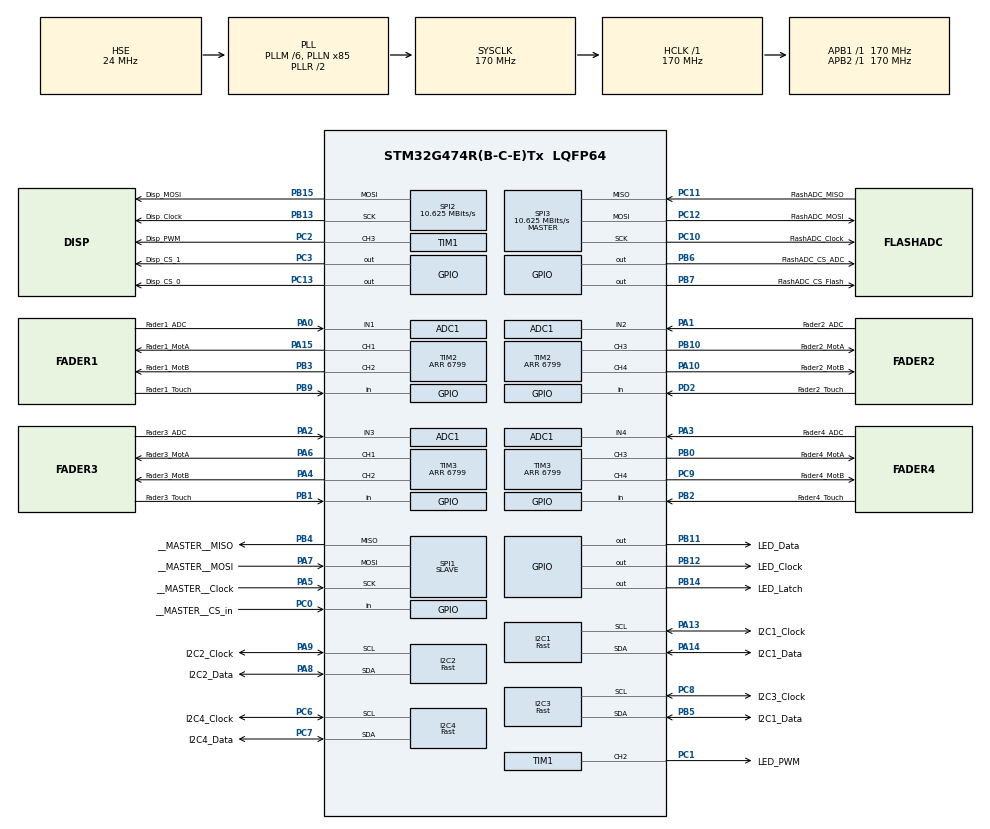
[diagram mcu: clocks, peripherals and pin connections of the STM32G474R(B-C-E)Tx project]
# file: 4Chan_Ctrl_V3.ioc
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ADC1.Channel-0\#ChannelRegularConversion=ADC_CHANNEL_1
ADC1.ClockPrescaler=ADC_CLOCK_ASYNC_DIV4
ADC1.NbrOfConversionFlag=1
ADC1.OffsetNumber-0\#ChannelRegularConversion=ADC_OFFSET_NONE
ADC1.Rank-0\#ChannelRegularConversion=1
ADC1.SamplingTime-0\#ChannelRegularConversion=ADC_SAMPLETIME_2CYCLES_5
ADC1.master=1
FREERTOS.Tasks01=defaultTask,24,128,StartDefaultTask,Default,NULL,Dynamic,NULL,NULL
I2C1.I2C_Speed_Mode=I2C_Fast
I2C1.Timing=0x00300617
I2C2.I2C_Speed_Mode=I2C_Fast
I2C2.Timing=0x00300617
I2C3.I2C_Speed_Mode=I2C_Fast
I2C3.Timing=0x00300617
I2C4.I2C_Speed_Mode=I2C_Fast
I2C4.Timing=0x00300617
Mcu.Family=STM32G4
Mcu.Name=STM32G474R(B-C-E)Tx
Mcu.Package=LQFP64
NVIC.PriorityGroup=NVIC_PRIORITYGROUP_4
NVIC.TIM7_DAC_IRQn=true\:15\:0\:false\:false\:true\:false\:false\:true\:true
NVIC.TimeBase=TIM7_DAC_IRQn
NVIC.TimeBaseIP=TIM7
PA0.GPIO_Label=Fader1_ADC
PA0.Mode=IN1-Single-Ended
PA0.Signal=ADC1_IN1
PA1.GPIO_Label=Fader2_ADC
PA1.Mode=IN2-Single-Ended
PA1.Signal=ADC1_IN2
PA10.GPIO_Label=Fader2_MotB
PA10.Signal=S_TIM2_CH4
PA13.GPIO_Label=I2C1_Clock
PA13.Mode=I2C
PA13.Signal=I2C1_SCL
PA14.GPIO_Label=I2C1_Data
PA14.Mode=I2C
PA14.Signal=I2C1_SDA
PA15.GPIO_Label=Fader1_MotA
PA15.Signal=S_TIM2_CH1
PA2.GPIO_Label=Fader3_ADC
PA2.Mode=IN3-Single-Ended
PA2.Signal=ADC1_IN3
PA3.GPIO_Label=Fader4_ADC
PA3.Mode=IN4-Single-Ended
PA3.Signal=ADC1_IN4
PA4.GPIO_Label=Fader3_MotB
PA4.Signal=S_TIM3_CH2
PA5.GPIO_Label=__MASTER__Clock
PA5.Mode=Full_Duplex_Slave
PA5.Signal=SPI1_SCK
PA6.GPIO_Label=Fader3_MotA
PA6.Signal=S_TIM3_CH1
PA7.GPIO_Label=__MASTER__MOSI
PA7.Mode=Full_Duplex_Slave
PA7.Signal=SPI1_MOSI
PA8.GPIO_Label=I2C2_Data
PA8.Mode=I2C
PA8.Signal=I2C2_SDA
PA9.GPIO_Label=I2C2_Clock
PA9.Mode=I2C
PA9.Signal=I2C2_SCL
PB0.GPIO_Label=Fader4_MotA
PB0.Signal=S_TIM3_CH3
PB1.GPIO_Label=Fader3_Touch
PB1.Signal=GPIO_Input
PB10.GPIO_Label=Fader2_MotA
PB10.Signal=S_TIM2_CH3
PB11.GPIO_Label=LED_Data
PB11.Signal=GPIO_Output
PB12.GPIO_Label=LED_Clock
PB12.Signal=GPIO_Output
PB13.GPIO_Label=Disp_Clock
PB13.Mode=TX_Only_Simplex_Unidirect_Master
PB13.Signal=SPI2_SCK
PB14.GPIO_Label=LED_Latch
PB14.Signal=GPIO_Output
PB15.GPIO_Label=Disp_MOSI
PB15.Mode=TX_Only_Simplex_Unidirect_Master
PB15.Signal=SPI2_MOSI
PB2.GPIO_Label=Fader4_Touch
PB2.Signal=GPIO_Input
PB3.GPIO_Label=Fader1_MotB
PB3.Signal=S_TIM2_CH2
PB4.GPIO_Label=__MASTER__MISO
PB4.Mode=Full_Duplex_Slave
PB4.Signal=SPI1_MISO
PB5.GPIO_Label=I2C1_Data
PB5.Mode=I2C
PB5.Signal=I2C3_SDA
PB6.GPIO_Label=FlashADC_CS_ADC
PB6.Signal=GPIO_Output
PB7.GPIO_Label=FlashADC_CS_Flash
PB7.Signal=GPIO_Output
PB9.GPIO_Label=Fader1_Touch
PB9.Signal=GPIO_Input
PC0.GPIO_Label=__MASTER__CS_in
PC0.Signal=GPIO_Input
PC1.GPIO_Label=LED_PWM
PC1.Signal=S_TIM1_CH2
PC10.GPIO_Label=FlashADC_Clock
PC10.Mode=Full_Duplex_Master
PC10.Signal=SPI3_SCK
PC11.GPIO_Label=FlashADC_MISO
PC11.Mode=Full_Duplex_Master
PC11.Signal=SPI3_MISO
PC12.GPIO_Label=FlashADC_MOSI
PC12.Mode=Full_Duplex_Master
PC12.Signal=SPI3_MOSI
PC13.GPIO_Label=Disp_CS_0
PC13.Signal=GPIO_Output
PC2.GPIO_Label=Disp_PWM
PC2.Signal=S_TIM1_CH3
PC3.GPIO_Label=Disp_CS_1
PC3.Signal=GPIO_Output
PC6.GPIO_Label=I2C4_Clock
PC6.Mode=I2C
PC6.Signal=I2C4_SCL
PC7.GPIO_Label=I2C4_Data
PC7.Mode=I2C
PC7.Signal=I2C4_SDA
PC8.GPIO_Label=I2C3_Clock
PC8.Mode=I2C
PC8.Signal=I2C3_SCL
PC9.GPIO_Label=Fader4_MotB
PC9.Signal=S_TIM3_CH4
PD2.GPIO_Label=Fader2_Touch
PD2.Signal=GPIO_Input
PF0-OSC_IN.GPIO_Label=_OSC_IN
PF0-OSC_IN.Mode=HSE-External-Oscillator
PF0-OSC_IN.Signal=RCC_OSC_IN
PF1-OSC_OUT.GPIO_Label=_OSC_OUT
PF1-OSC_OUT.Mode=HSE-External-Oscillator
PF1-OSC_OUT.Signal=RCC_OSC_OUT
ProjectManager.HeapSize=0x200
ProjectManager.StackSize=0x400
ProjectManager.TargetToolchain=CMake
RCC.ADC12Freq_Value=170000000
RCC.ADC345Freq_Value=170000000
RCC.AHBFreq_Value=170000000
RCC.APB1Freq_Value=170000000
RCC.APB1TimFreq_Value=170000000
RCC.APB2Freq_Value=170000000
RCC.APB2TimFreq_Value=170000000
RCC.CK48CLockSelection=RCC_USBCLKSOURCE_HSI48
RCC.CortexFreq_Value=170000000
RCC.EXTERNAL_CLOCK_VALUE=12288000
RCC.HCLKFreq_Value=170000000
RCC.HSE_VALUE=24000000
RCC.HSI48_VALUE=48000000
RCC.HSI_VALUE=16000000
RCC.I2C1CLockSelection=RCC_I2C1CLKSOURCE_HSI
RCC.I2C2CLockSelection=RCC_I2C2CLKSOURCE_HSI
RCC.I2C3CLockSelection=RCC_I2C3CLKSOURCE_HSI
RCC.I2C4CLockSelection=RCC_I2C4CLKSOURCE_HSI
RCC.LSE_VALUE=32768
RCC.PLLM=RCC_PLLM_DIV6
RCC.PLLN=85
RCC.PLLP=RCC_PLLP_DIV6
RCC.PLLQ=RCC_PLLQ_DIV4
RCC.PLLSourceVirtual=RCC_PLLSOURCE_HSE
RCC.SYSCLKFreq_VALUE=170000000
RCC.SYSCLKSource=RCC_SYSCLKSOURCE_PLLCLK
RCC.USBFreq_Value=48000000
RCC.VCOOutputFreq_Value=340000000
SH.S_TIM1_CH2.0=TIM1_CH2,PWM Generation2 CH2
SH.S_TIM1_CH3.0=TIM1_CH3,PWM Generation3 CH3
SH.S_TIM2_CH1.0=TIM2_CH1,PWM Generation1 CH1
SH.S_TIM2_CH2.0=TIM2_CH2,PWM Generation2 CH2
SH.S_TIM2_CH3.0=TIM2_CH3,PWM Generation3 CH3
SH.S_TIM2_CH4.0=TIM2_CH4,PWM Generation4 CH4
SH.S_TIM3_CH1.0=TIM3_CH1,PWM Generation1 CH1
SH.S_TIM3_CH2.0=TIM3_CH2,PWM Generation2 CH2
SH.S_TIM3_CH3.0=TIM3_CH3,PWM Generation3 CH3
SH.S_TIM3_CH4.0=TIM3_CH4,PWM Generation4 CH4
SPI1.Direction=SPI_DIRECTION_2LINES
SPI1.Mode=SPI_MODE_SLAVE
SPI1.VirtualType=VM_SLAVE
SPI2.BaudRatePrescaler=SPI_BAUDRATEPRESCALER_16
SPI2.CalculateBaudRate=10.625 MBits/s
SPI2.Direction=SPI_DIRECTION_2LINES
SPI2.Mode=SPI_MODE_MASTER
SPI2.VirtualType=VM_MASTER
SPI3.BaudRatePrescaler=SPI_BAUDRATEPRESCALER_16
SPI3.CalculateBaudRate=10.625 MBits/s
SPI3.Direction=SPI_DIRECTION_2LINES
SPI3.Mode=SPI_MODE_MASTER
SPI3.VirtualType=VM_MASTER
TIM1.Channel-PWM\ Generation2\ CH2=TIM_CHANNEL_2
TIM1.Channel-PWM\ Generation3\ CH3=TIM_CHANNEL_3
TIM1.PeriodNoDither=6799
TIM2.Channel-PWM\ Generation1\ CH1=TIM_CHANNEL_1
TIM2.Channel-PWM\ Generation2\ CH2=TIM_CHANNEL_2
TIM2.Channel-PWM\ Generation3\ CH3=TIM_CHANNEL_3
TIM2.Channel-PWM\ Generation4\ CH4=TIM_CHANNEL_4
TIM2.PeriodNoDither=6799
TIM3.Channel-PWM\ Generation1\ CH1=TIM_CHANNEL_1
TIM3.Channel-PWM\ Generation2\ CH2=TIM_CHANNEL_2
TIM3.Channel-PWM\ Generation3\ CH3=TIM_CHANNEL_3
TIM3.Channel-PWM\ Generation4\ CH4=TIM_CHANNEL_4
TIM3.PeriodNoDither=6799
VP_FREERTOS_VS_CMSIS_V2.Mode=CMSIS_V2
VP_SYS_VS_DBSignals.Mode=DisableDeadBatterySignals
VP_SYS_VS_tim7.Mode=TIM7
board=custom

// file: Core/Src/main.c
/* USER CODE BEGIN Header */
/**
  ******************************************************************************
  * @file           : main.c
  * @brief          : Main program body
  ******************************************************************************
  * @attention
  *
  * Copyright (c) 2026 STMicroelectronics.
  * All rights reserved.
  *
  * This software is licensed under terms that can be found in the LICENSE file
  * in the root directory of this software component.
  * If no LICENSE file comes with this software, it is provided AS-IS.
  *
  ******************************************************************************
  */
/* USER CODE END Header */
#include "main.h"
#include "cmsis_os.h"

/* USER CODE BEGIN Includes */

#include <stdio.h>

// Skylar
#include "cmsis_os2.h"
#include "led_driver.h"

/* USER CODE END Includes */

ADC_HandleTypeDef hadc1;

I2C_HandleTypeDef hi2c1;
I2C_HandleTypeDef hi2c2;
I2C_HandleTypeDef hi2c3;
I2C_HandleTypeDef hi2c4;

SPI_HandleTypeDef hspi1;
SPI_HandleTypeDef hspi2;
SPI_HandleTypeDef hspi3;

TIM_HandleTypeDef htim1;
TIM_HandleTypeDef htim2;
TIM_HandleTypeDef htim3;

/* Definitions for defaultTask */
osThreadId_t defaultTaskHandle;
const osThreadAttr_t defaultTask_attributes = {
  .name = "defaultTask",
  .priority = (osPriority_t) osPriorityNormal,
  .stack_size = 128 * 4
};

void SystemClock_Config(void);
static void MX_GPIO_Init(void);
static void MX_ADC1_Init(void);
static void MX_I2C1_Init(void);
static void MX_I2C2_Init(void);
static void MX_I2C3_Init(void);
static void MX_I2C4_Init(void);
static void MX_SPI1_Init(void);
static void MX_SPI2_Init(void);
static void MX_SPI3_Init(void);
static void MX_TIM2_Init(void);
static void MX_TIM3_Init(void);
static void MX_TIM1_Init(void);
void StartDefaultTask(void *argument);

int main(void)
{

  /* MCU Configuration--------------------------------------------------------*/

  /* Reset of all peripherals, Initializes the Flash interface and the Systick. */
  HAL_Init();

  /* Configure the system clock */
  SystemClock_Config();

  /* Initialize all configured peripherals */
  MX_GPIO_Init();
  MX_ADC1_Init();
  MX_I2C1_Init();
  MX_I2C2_Init();
  MX_I2C3_Init();
  MX_I2C4_Init();
  MX_SPI1_Init();
  MX_SPI2_Init();
  MX_SPI3_Init();
  MX_TIM2_Init();
  MX_TIM3_Init();
  MX_TIM1_Init();

  /* Init scheduler */
  osKernelInitialize();

  /* Create the thread(s) */
  /* creation of defaultTask */
  defaultTaskHandle = osThreadNew(StartDefaultTask, NULL, &defaultTask_attributes);

  /* Start scheduler */
  osKernelStart();

  /* We should never get here as control is now taken by the scheduler */

  /* Infinite loop */
  while (1)
  {

  }
}

void SystemClock_Config(void)
{
  RCC_OscInitTypeDef RCC_OscInitStruct = {0};
  RCC_ClkInitTypeDef RCC_ClkInitStruct = {0};

  /** Configure the main internal regulator output voltage
  */
  HAL_PWREx_ControlVoltageScaling(PWR_REGULATOR_VOLTAGE_SCALE1_BOOST);

  /** Initializes the RCC Oscillators according to the specified parameters
  * in the RCC_OscInitTypeDef structure.
  */
  RCC_OscInitStruct.OscillatorType = RCC_OSCILLATORTYPE_HSI|RCC_OSCILLATORTYPE_HSE;
  RCC_OscInitStruct.HSEState = RCC_HSE_ON;
  RCC_OscInitStruct.HSIState = RCC_HSI_ON;
  RCC_OscInitStruct.HSICalibrationValue = RCC_HSICALIBRATION_DEFAULT;
  RCC_OscInitStruct.PLL.PLLState = RCC_PLL_ON;
  RCC_OscInitStruct.PLL.PLLSource = RCC_PLLSOURCE_HSE;
  RCC_OscInitStruct.PLL.PLLM = RCC_PLLM_DIV6;
  RCC_OscInitStruct.PLL.PLLN = 85;
  RCC_OscInitStruct.PLL.PLLP = RCC_PLLP_DIV6;
  RCC_OscInitStruct.PLL.PLLQ = RCC_PLLQ_DIV4;
  RCC_OscInitStruct.PLL.PLLR = RCC_PLLR_DIV2;
  if (HAL_RCC_OscConfig(&RCC_OscInitStruct) != HAL_OK)
  {
    Error_Handler();
  }

  /** Initializes the CPU, AHB and APB buses clocks
  */
  RCC_ClkInitStruct.ClockType = RCC_CLOCKTYPE_HCLK|RCC_CLOCKTYPE_SYSCLK
                              |RCC_CLOCKTYPE_PCLK1|RCC_CLOCKTYPE_PCLK2;
  RCC_ClkInitStruct.SYSCLKSource = RCC_SYSCLKSOURCE_PLLCLK;
  RCC_ClkInitStruct.AHBCLKDivider = RCC_SYSCLK_DIV1;
  RCC_ClkInitStruct.APB1CLKDivider = RCC_HCLK_DIV1;
  RCC_ClkInitStruct.APB2CLKDivider = RCC_HCLK_DIV1;

  if (HAL_RCC_ClockConfig(&RCC_ClkInitStruct, FLASH_LATENCY_4) != HAL_OK)
  {
    Error_Handler();
  }
}

static void MX_ADC1_Init(void)
{

  ADC_MultiModeTypeDef multimode = {0};
  ADC_ChannelConfTypeDef sConfig = {0};

  /** Common config
  */
  hadc1.Instance = ADC1;
  hadc1.Init.ClockPrescaler = ADC_CLOCK_ASYNC_DIV4;
  hadc1.Init.Resolution = ADC_RESOLUTION_12B;
  hadc1.Init.DataAlign = ADC_DATAALIGN_RIGHT;
  hadc1.Init.GainCompensation = 0;
  hadc1.Init.ScanConvMode = ADC_SCAN_DISABLE;
  hadc1.Init.EOCSelection = ADC_EOC_SINGLE_CONV;
  hadc1.Init.LowPowerAutoWait = DISABLE;
  hadc1.Init.ContinuousConvMode = DISABLE;
  hadc1.Init.NbrOfConversion = 1;
  hadc1.Init.DiscontinuousConvMode = DISABLE;
  hadc1.Init.ExternalTrigConv = ADC_SOFTWARE_START;
  hadc1.Init.ExternalTrigConvEdge = ADC_EXTERNALTRIGCONVEDGE_NONE;
  hadc1.Init.DMAContinuousRequests = DISABLE;
  hadc1.Init.Overrun = ADC_OVR_DATA_PRESERVED;
  hadc1.Init.OversamplingMode = DISABLE;
  if (HAL_ADC_Init(&hadc1) != HAL_OK)
  {
    Error_Handler();
  }

  /** Configure the ADC multi-mode
  */
  multimode.Mode = ADC_MODE_INDEPENDENT;
  if (HAL_ADCEx_MultiModeConfigChannel(&hadc1, &multimode) != HAL_OK)
  {
    Error_Handler();
  }

  /** Configure Regular Channel
  */
  sConfig.Channel = ADC_CHANNEL_1;
  sConfig.Rank = ADC_REGULAR_RANK_1;
  sConfig.SamplingTime = ADC_SAMPLETIME_2CYCLES_5;
  sConfig.SingleDiff = ADC_SINGLE_ENDED;
  sConfig.OffsetNumber = ADC_OFFSET_NONE;
  sConfig.Offset = 0;
  if (HAL_ADC_ConfigChannel(&hadc1, &sConfig) != HAL_OK)
  {
    Error_Handler();
  }

}

static void MX_I2C1_Init(void)
{

  hi2c1.Instance = I2C1;
  hi2c1.Init.Timing = 0x00300617;
  hi2c1.Init.OwnAddress1 = 0;
  hi2c1.Init.AddressingMode = I2C_ADDRESSINGMODE_7BIT;
  hi2c1.Init.DualAddressMode = I2C_DUALADDRESS_DISABLE;
  hi2c1.Init.OwnAddress2 = 0;
  hi2c1.Init.OwnAddress2Masks = I2C_OA2_NOMASK;
  hi2c1.Init.GeneralCallMode = I2C_GENERALCALL_DISABLE;
  hi2c1.Init.NoStretchMode = I2C_NOSTRETCH_DISABLE;
  if (HAL_I2C_Init(&hi2c1) != HAL_OK)
  {
    Error_Handler();
  }

  /** Configure Analogue filter
  */
  if (HAL_I2CEx_ConfigAnalogFilter(&hi2c1, I2C_ANALOGFILTER_ENABLE) != HAL_OK)
  {
    Error_Handler();
  }

  /** Configure Digital filter
  */
  if (HAL_I2CEx_ConfigDigitalFilter(&hi2c1, 0) != HAL_OK)
  {
    Error_Handler();
  }

}

static void MX_I2C2_Init(void)
{

  hi2c2.Instance = I2C2;
  hi2c2.Init.Timing = 0x00300617;
  hi2c2.Init.OwnAddress1 = 0;
  hi2c2.Init.AddressingMode = I2C_ADDRESSINGMODE_7BIT;
  hi2c2.Init.DualAddressMode = I2C_DUALADDRESS_DISABLE;
  hi2c2.Init.OwnAddress2 = 0;
  hi2c2.Init.OwnAddress2Masks = I2C_OA2_NOMASK;
  hi2c2.Init.GeneralCallMode = I2C_GENERALCALL_DISABLE;
  hi2c2.Init.NoStretchMode = I2C_NOSTRETCH_DISABLE;
  if (HAL_I2C_Init(&hi2c2) != HAL_OK)
  {
    Error_Handler();
  }

  /** Configure Analogue filter
  */
  if (HAL_I2CEx_ConfigAnalogFilter(&hi2c2, I2C_ANALOGFILTER_ENABLE) != HAL_OK)
  {
    Error_Handler();
  }

  /** Configure Digital filter
  */
  if (HAL_I2CEx_ConfigDigitalFilter(&hi2c2, 0) != HAL_OK)
  {
    Error_Handler();
  }

}

static void MX_I2C3_Init(void)
{

  hi2c3.Instance = I2C3;
  hi2c3.Init.Timing = 0x00300617;
  hi2c3.Init.OwnAddress1 = 0;
  hi2c3.Init.AddressingMode = I2C_ADDRESSINGMODE_7BIT;
  hi2c3.Init.DualAddressMode = I2C_DUALADDRESS_DISABLE;
  hi2c3.Init.OwnAddress2 = 0;
  hi2c3.Init.OwnAddress2Masks = I2C_OA2_NOMASK;
  hi2c3.Init.GeneralCallMode = I2C_GENERALCALL_DISABLE;
  hi2c3.Init.NoStretchMode = I2C_NOSTRETCH_DISABLE;
  if (HAL_I2C_Init(&hi2c3) != HAL_OK)
  {
    Error_Handler();
  }

  /** Configure Analogue filter
  */
  if (HAL_I2CEx_ConfigAnalogFilter(&hi2c3, I2C_ANALOGFILTER_ENABLE) != HAL_OK)
  {
    Error_Handler();
  }

  /** Configure Digital filter
  */
  if (HAL_I2CEx_ConfigDigitalFilter(&hi2c3, 0) != HAL_OK)
  {
    Error_Handler();
  }

}

static void MX_I2C4_Init(void)
{

  hi2c4.Instance = I2C4;
  hi2c4.Init.Timing = 0x00300617;
  hi2c4.Init.OwnAddress1 = 0;
  hi2c4.Init.AddressingMode = I2C_ADDRESSINGMODE_7BIT;
  hi2c4.Init.DualAddressMode = I2C_DUALADDRESS_DISABLE;
  hi2c4.Init.OwnAddress2 = 0;
  hi2c4.Init.OwnAddress2Masks = I2C_OA2_NOMASK;
  hi2c4.Init.GeneralCallMode = I2C_GENERALCALL_DISABLE;
  hi2c4.Init.NoStretchMode = I2C_NOSTRETCH_DISABLE;
  if (HAL_I2C_Init(&hi2c4) != HAL_OK)
  {
    Error_Handler();
  }

  /** Configure Analogue filter
  */
  if (HAL_I2CEx_ConfigAnalogFilter(&hi2c4, I2C_ANALOGFILTER_ENABLE) != HAL_OK)
  {
    Error_Handler();
  }

  /** Configure Digital filter
  */
  if (HAL_I2CEx_ConfigDigitalFilter(&hi2c4, 0) != HAL_OK)
  {
    Error_Handler();
  }

}

static void MX_SPI1_Init(void)
{

  /* SPI1 parameter configuration*/
  hspi1.Instance = SPI1;
  hspi1.Init.Mode = SPI_MODE_SLAVE;
  hspi1.Init.Direction = SPI_DIRECTION_2LINES;
  hspi1.Init.DataSize = SPI_DATASIZE_4BIT;
  hspi1.Init.CLKPolarity = SPI_POLARITY_LOW;
  hspi1.Init.CLKPhase = SPI_PHASE_1EDGE;
  hspi1.Init.NSS = SPI_NSS_SOFT;
  hspi1.Init.FirstBit = SPI_FIRSTBIT_MSB;
  hspi1.Init.TIMode = SPI_TIMODE_DISABLE;
  hspi1.Init.CRCCalculation = SPI_CRCCALCULATION_DISABLE;
  hspi1.Init.CRCPolynomial = 7;
  hspi1.Init.CRCLength = SPI_CRC_LENGTH_DATASIZE;
  hspi1.Init.NSSPMode = SPI_NSS_PULSE_DISABLE;
  if (HAL_SPI_Init(&hspi1) != HAL_OK)
  {
    Error_Handler();
  }

}

static void MX_SPI2_Init(void)
{

  /* SPI2 parameter configuration*/
  hspi2.Instance = SPI2;
  hspi2.Init.Mode = SPI_MODE_MASTER;
  hspi2.Init.Direction = SPI_DIRECTION_2LINES;
  hspi2.Init.DataSize = SPI_DATASIZE_4BIT;
  hspi2.Init.CLKPolarity = SPI_POLARITY_LOW;
  hspi2.Init.CLKPhase = SPI_PHASE_1EDGE;
  hspi2.Init.NSS = SPI_NSS_SOFT;
  hspi2.Init.BaudRatePrescaler = SPI_BAUDRATEPRESCALER_16;
  hspi2.Init.FirstBit = SPI_FIRSTBIT_MSB;
  hspi2.Init.TIMode = SPI_TIMODE_DISABLE;
  hspi2.Init.CRCCalculation = SPI_CRCCALCULATION_DISABLE;
  hspi2.Init.CRCPolynomial = 7;
  hspi2.Init.CRCLength = SPI_CRC_LENGTH_DATASIZE;
  hspi2.Init.NSSPMode = SPI_NSS_PULSE_ENABLE;
  if (HAL_SPI_Init(&hspi2) != HAL_OK)
  {
    Error_Handler();
  }

}

static void MX_SPI3_Init(void)
{

  /* SPI3 parameter configuration*/
  hspi3.Instance = SPI3;
  hspi3.Init.Mode = SPI_MODE_MASTER;
  hspi3.Init.Direction = SPI_DIRECTION_2LINES;
  hspi3.Init.DataSize = SPI_DATASIZE_4BIT;
  hspi3.Init.CLKPolarity = SPI_POLARITY_LOW;
  hspi3.Init.CLKPhase = SPI_PHASE_1EDGE;
  hspi3.Init.NSS = SPI_NSS_SOFT;
  hspi3.Init.BaudRatePrescaler = SPI_BAUDRATEPRESCALER_16;
  hspi3.Init.FirstBit = SPI_FIRSTBIT_MSB;
  hspi3.Init.TIMode = SPI_TIMODE_DISABLE;
  hspi3.Init.CRCCalculation = SPI_CRCCALCULATION_DISABLE;
  hspi3.Init.CRCPolynomial = 7;
  hspi3.Init.CRCLength = SPI_CRC_LENGTH_DATASIZE;
  hspi3.Init.NSSPMode = SPI_NSS_PULSE_ENABLE;
  if (HAL_SPI_Init(&hspi3) != HAL_OK)
  {
    Error_Handler();
  }

}

static void MX_TIM1_Init(void)
{

  TIM_MasterConfigTypeDef sMasterConfig = {0};
  TIM_OC_InitTypeDef sConfigOC = {0};
  TIM_BreakDeadTimeConfigTypeDef sBreakDeadTimeConfig = {0};

  htim1.Instance = TIM1;
  htim1.Init.Prescaler = 0;
  htim1.Init.CounterMode = TIM_COUNTERMODE_UP;
  htim1.Init.Period = 6799;
  htim1.Init.ClockDivision = TIM_CLOCKDIVISION_DIV1;
  htim1.Init.RepetitionCounter = 0;
  htim1.Init.AutoReloadPreload = TIM_AUTORELOAD_PRELOAD_DISABLE;
  if (HAL_TIM_PWM_Init(&htim1) != HAL_OK)
  {
    Error_Handler();
  }
  sMasterConfig.MasterOutputTrigger = TIM_TRGO_RESET;
  sMasterConfig.MasterOutputTrigger2 = TIM_TRGO2_RESET;
  sMasterConfig.MasterSlaveMode = TIM_MASTERSLAVEMODE_DISABLE;
  if (HAL_TIMEx_MasterConfigSynchronization(&htim1, &sMasterConfig) != HAL_OK)
  {
    Error_Handler();
  }
  sConfigOC.OCMode = TIM_OCMODE_PWM1;
  sConfigOC.Pulse = 0;
  sConfigOC.OCPolarity = TIM_OCPOLARITY_HIGH;
  sConfigOC.OCNPolarity = TIM_OCNPOLARITY_HIGH;
  sConfigOC.OCFastMode = TIM_OCFAST_DISABLE;
  sConfigOC.OCIdleState = TIM_OCIDLESTATE_RESET;
  sConfigOC.OCNIdleState = TIM_OCNIDLESTATE_RESET;
  if (HAL_TIM_PWM_ConfigChannel(&htim1, &sConfigOC, TIM_CHANNEL_2) != HAL_OK)
  {
    Error_Handler();
  }
  if (HAL_TIM_PWM_ConfigChannel(&htim1, &sConfigOC, TIM_CHANNEL_3) != HAL_OK)
  {
    Error_Handler();
  }
  sBreakDeadTimeConfig.OffStateRunMode = TIM_OSSR_DISABLE;
  sBreakDeadTimeConfig.OffStateIDLEMode = TIM_OSSI_DISABLE;
  sBreakDeadTimeConfig.LockLevel = TIM_LOCKLEVEL_OFF;
  sBreakDeadTimeConfig.DeadTime = 0;
  sBreakDeadTimeConfig.BreakState = TIM_BREAK_DISABLE;
  sBreakDeadTimeConfig.BreakPolarity = TIM_BREAKPOLARITY_HIGH;
  sBreakDeadTimeConfig.BreakFilter = 0;
  sBreakDeadTimeConfig.BreakAFMode = TIM_BREAK_AFMODE_INPUT;
  sBreakDeadTimeConfig.Break2State = TIM_BREAK2_DISABLE;
  sBreakDeadTimeConfig.Break2Polarity = TIM_BREAK2POLARITY_HIGH;
  sBreakDeadTimeConfig.Break2Filter = 0;
  sBreakDeadTimeConfig.Break2AFMode = TIM_BREAK_AFMODE_INPUT;
  sBreakDeadTimeConfig.AutomaticOutput = TIM_AUTOMATICOUTPUT_DISABLE;
  if (HAL_TIMEx_ConfigBreakDeadTime(&htim1, &sBreakDeadTimeConfig) != HAL_OK)
  {
    Error_Handler();
  }
  HAL_TIM_MspPostInit(&htim1);

}

static void MX_TIM2_Init(void)
{

  TIM_MasterConfigTypeDef sMasterConfig = {0};
  TIM_OC_InitTypeDef sConfigOC = {0};

  htim2.Instance = TIM2;
  htim2.Init.Prescaler = 0;
  htim2.Init.CounterMode = TIM_COUNTERMODE_UP;
  htim2.Init.Period = 6799;
  htim2.Init.ClockDivision = TIM_CLOCKDIVISION_DIV1;
  htim2.Init.AutoReloadPreload = TIM_AUTORELOAD_PRELOAD_DISABLE;
  if (HAL_TIM_PWM_Init(&htim2) != HAL_OK)
  {
    Error_Handler();
  }
  sMasterConfig.MasterOutputTrigger = TIM_TRGO_RESET;
  sMasterConfig.MasterSlaveMode = TIM_MASTERSLAVEMODE_DISABLE;
  if (HAL_TIMEx_MasterConfigSynchronization(&htim2, &sMasterConfig) != HAL_OK)
  {
    Error_Handler();
  }
  sConfigOC.OCMode = TIM_OCMODE_PWM1;
  sConfigOC.Pulse = 0;
  sConfigOC.OCPolarity = TIM_OCPOLARITY_HIGH;
  sConfigOC.OCFastMode = TIM_OCFAST_DISABLE;
  if (HAL_TIM_PWM_ConfigChannel(&htim2, &sConfigOC, TIM_CHANNEL_1) != HAL_OK)
  {
    Error_Handler();
  }
  if (HAL_TIM_PWM_ConfigChannel(&htim2, &sConfigOC, TIM_CHANNEL_2) != HAL_OK)
  {
    Error_Handler();
  }
  if (HAL_TIM_PWM_ConfigChannel(&htim2, &sConfigOC, TIM_CHANNEL_3) != HAL_OK)
  {
    Error_Handler();
  }
  if (HAL_TIM_PWM_ConfigChannel(&htim2, &sConfigOC, TIM_CHANNEL_4) != HAL_OK)
  {
    Error_Handler();
  }
  HAL_TIM_MspPostInit(&htim2);

}

static void MX_TIM3_Init(void)
{

  TIM_MasterConfigTypeDef sMasterConfig = {0};
  TIM_OC_InitTypeDef sConfigOC = {0};

  htim3.Instance = TIM3;
  htim3.Init.Prescaler = 0;
  htim3.Init.CounterMode = TIM_COUNTERMODE_UP;
  htim3.Init.Period = 6799;
  htim3.Init.ClockDivision = TIM_CLOCKDIVISION_DIV1;
  htim3.Init.AutoReloadPreload = TIM_AUTORELOAD_PRELOAD_DISABLE;
  if (HAL_TIM_PWM_Init(&htim3) != HAL_OK)
  {
    Error_Handler();
  }
  sMasterConfig.MasterOutputTrigger = TIM_TRGO_RESET;
  sMasterConfig.MasterSlaveMode = TIM_MASTERSLAVEMODE_DISABLE;
  if (HAL_TIMEx_MasterConfigSynchronization(&htim3, &sMasterConfig) != HAL_OK)
  {
    Error_Handler();
  }
  sConfigOC.OCMode = TIM_OCMODE_PWM1;
  sConfigOC.Pulse = 0;
  sConfigOC.OCPolarity = TIM_OCPOLARITY_HIGH;
  sConfigOC.OCFastMode = TIM_OCFAST_DISABLE;
  if (HAL_TIM_PWM_ConfigChannel(&htim3, &sConfigOC, TIM_CHANNEL_1) != HAL_OK)
  {
    Error_Handler();
  }
  if (HAL_TIM_PWM_ConfigChannel(&htim3, &sConfigOC, TIM_CHANNEL_2) != HAL_OK)
  {
    Error_Handler();
  }
  if (HAL_TIM_PWM_ConfigChannel(&htim3, &sConfigOC, TIM_CHANNEL_3) != HAL_OK)
  {
    Error_Handler();
  }
  if (HAL_TIM_PWM_ConfigChannel(&htim3, &sConfigOC, TIM_CHANNEL_4) != HAL_OK)
  {
    Error_Handler();
  }
  HAL_TIM_MspPostInit(&htim3);

}

static void MX_GPIO_Init(void)
{
  GPIO_InitTypeDef GPIO_InitStruct = {0};

  /* GPIO Ports Clock Enable */
  __HAL_RCC_GPIOC_CLK_ENABLE();
  __HAL_RCC_GPIOF_CLK_ENABLE();
  __HAL_RCC_GPIOA_CLK_ENABLE();
  __HAL_RCC_GPIOB_CLK_ENABLE();
  __HAL_RCC_GPIOD_CLK_ENABLE();

  /*Configure GPIO pin Output Level */
  HAL_GPIO_WritePin(GPIOC, Disp_CS_0_Pin|Disp_CS_1_Pin, GPIO_PIN_RESET);

  /*Configure GPIO pin Output Level */
  HAL_GPIO_WritePin(GPIOB, LED_Data_Pin|LED_Clock_Pin|LED_Latch_Pin|FlashADC_CS_ADC_Pin
                          |FlashADC_CS_Flash_Pin, GPIO_PIN_RESET);

  /*Configure GPIO pins : Disp_CS_0_Pin Disp_CS_1_Pin */
  GPIO_InitStruct.Pin = Disp_CS_0_Pin|Disp_CS_1_Pin;
  GPIO_InitStruct.Mode = GPIO_MODE_OUTPUT_PP;
  GPIO_InitStruct.Pull = GPIO_NOPULL;
  GPIO_InitStruct.Speed = GPIO_SPEED_FREQ_LOW;
  HAL_GPIO_Init(GPIOC, &GPIO_InitStruct);

  /*Configure GPIO pin : __MASTER__CS_in_Pin */
  GPIO_InitStruct.Pin = __MASTER__CS_in_Pin;
  GPIO_InitStruct.Mode = GPIO_MODE_INPUT;
  GPIO_InitStruct.Pull = GPIO_NOPULL;
  HAL_GPIO_Init(__MASTER__CS_in_GPIO_Port, &GPIO_InitStruct);

  /*Configure GPIO pins : Fader3_Touch_Pin Fader4_Touch_Pin Fader1_Touch_Pin */
  GPIO_InitStruct.Pin = Fader3_Touch_Pin|Fader4_Touch_Pin|Fader1_Touch_Pin;
  GPIO_InitStruct.Mode = GPIO_MODE_INPUT;
  GPIO_InitStruct.Pull = GPIO_NOPULL;
  HAL_GPIO_Init(GPIOB, &GPIO_InitStruct);

  /*Configure GPIO pins : LED_Data_Pin LED_Clock_Pin LED_Latch_Pin FlashADC_CS_ADC_Pin
                           FlashADC_CS_Flash_Pin */
  GPIO_InitStruct.Pin = LED_Data_Pin|LED_Clock_Pin|LED_Latch_Pin|FlashADC_CS_ADC_Pin
                          |FlashADC_CS_Flash_Pin;
  GPIO_InitStruct.Mode = GPIO_MODE_OUTPUT_PP;
  GPIO_InitStruct.Pull = GPIO_NOPULL;
  GPIO_InitStruct.Speed = GPIO_SPEED_FREQ_LOW;
  HAL_GPIO_Init(GPIOB, &GPIO_InitStruct);

  /*Configure GPIO pin : Fader2_Touch_Pin */
  GPIO_InitStruct.Pin = Fader2_Touch_Pin;
  GPIO_InitStruct.Mode = GPIO_MODE_INPUT;
  GPIO_InitStruct.Pull = GPIO_NOPULL;
  HAL_GPIO_Init(Fader2_Touch_GPIO_Port, &GPIO_InitStruct);

}

void StartDefaultTask(void *argument)
{
  /* USER CODE BEGIN 5 */

  // cute little animation thing
  led_init();
  led_debug(false);
  led_brightness(10);

  knob_scale(0, 0, SCALE_LEFT);
  knob_scale(0, 1, SCALE_CENTER);
  knob_disp(0, 0, 0);
  knob_disp(0, 1, 0);

  knob_led(0, 1, 10);
  knob_led(0, 0, 10);
  led_update();
  anim_stop();

  anim_claim(ANIM_LOAD);

  for (int i = 0; i < 10; i++)
  {
    anim_loading(-1);
    osDelay(80);
  }

  for (int i = 0; i < 80; i++)
  {
    anim_sweep(0,1);
    osDelay(20);
  }

  for (int i = 0; i < 80; i++)
  {
    anim_sweep(0,0);
    osDelay(20);
  }

  for (;;)
  {
    anim_breathe(0);
    osDelay(32);
  }

  /* USER CODE END 5 */
}

void HAL_TIM_PeriodElapsedCallback(TIM_HandleTypeDef *htim)
{
  if (htim->Instance == TIM7)
  {
    HAL_IncTick();
  }
}

void Error_Handler(void)
{
  __disable_irq();
  while (1)
  {
  }
}
